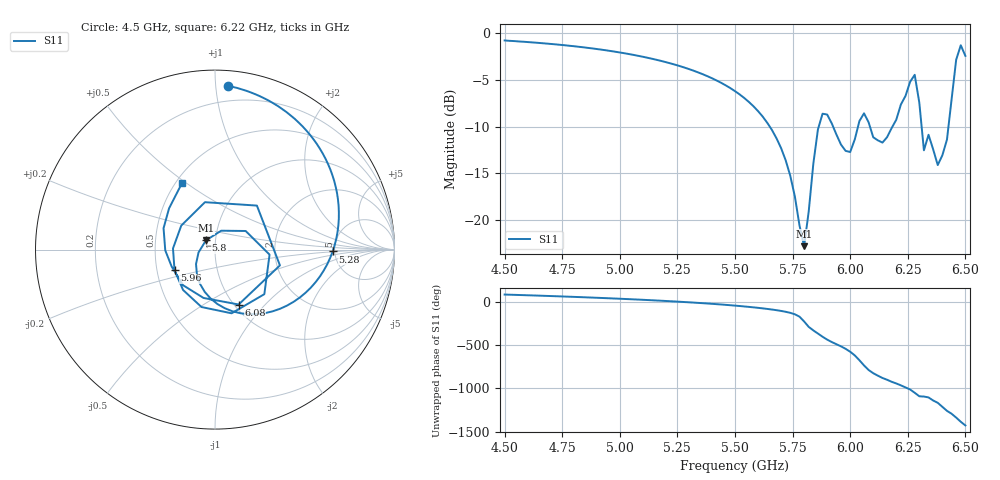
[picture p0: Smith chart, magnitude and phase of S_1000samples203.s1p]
! TOUCHSTONE file generated by CST MICROWAVE STUDIO
! Date and time: Thu Oct 27 09:00:23 2022
! Project name: L.cst
! Parameters = {Di=1.27; Epsilon_r=1.56; InnerDiameter=1.27; Length=2; Lf=10; Lg=60; OuterConductorThickness=0.2921; OuterDiameter=3.6; Wf=3; Wp=41.2; de=1.5; df=6.8; g=0.8; gx=3.22912; gy=3.27814; h=2.34; hf=1.524; px=13.1889; py=14.8324; w=9.7; wx=9.95976; wy=11.5543}
! Header version: 2018
! Port assignment regex: !\s*Touchstone port\s*([0-9]+)\s*=\s*(CST MWS port|CST DS port)\s*([0-9]+|Zmin|Zmax)\s*\(\"(.*)\"\)(\s*mode\s*([0-9]+))?.*
! Touchstone port assignment:
! Touchstone port 1 = CST MWS port 1 ("")
# GHz S DB R 50
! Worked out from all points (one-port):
!   101 points, 4.5 GHz to 6.5 GHz, reference 50 ohm
!   lowest |S11| = -22.8 dB at 5.8 GHz (marker M1), VSWR 1.16, Z = 45 + j4.64 ohm
!   |S11| at or under -10 dB: 5.651 GHz to 5.864 GHz (213.1 MHz wide, 3.7 % of centre); 5.926 GHz to 6.034 GHz (108.3 MHz wide, 1.81 % of centre); 6.31 GHz to 6.427 GHz (116.5 MHz wide, 1.83 % of centre) (the widest 3 of 4)
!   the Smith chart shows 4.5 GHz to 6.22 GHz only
!   S11 on the Smith chart (normalised r, x): 4.5 GHz: 0.09, +1.08; 5.28 GHz: 4.80, -0.18; 5.8 GHz: 0.90, +0.09; 5.96 GHz: 0.62, -0.15; 6.08 GHz: 1.05, -0.72; 6.22 GHz: 0.54, +0.48
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4.5  -0.76 85.5
4.76  -1.27 62.5
5  -2.05 37.1
5.26  -3.51 2.2
5.28  -3.67 -0.9
5.5  -6.20 -42.4
5.66  -10.36 -87.5
5.76  -17.53 -142.8
5.8  -22.84 134.6
5.84  -13.98 31.2
5.88  -8.63 -42.1
5.96  -11.94 -153.0
6  -12.74 144.5
6.04  -9.41 46.4
6.06  -8.58 -13.6
6.08  -9.55 -66.7
6.14  -11.73 -158.7
6.22  -7.63 116.1
6.26  -5.20 68.5
6.28  -4.45 30.5
6.3  -7.44 -10.1
6.32  -12.55 -13.3
6.36  -12.44 -58.7
6.4  -13.09 -132.1
6.44  -7.11 148.1
6.46  -2.83 103.7
6.48  -1.28 55.2
6.5  -2.42 12.7
